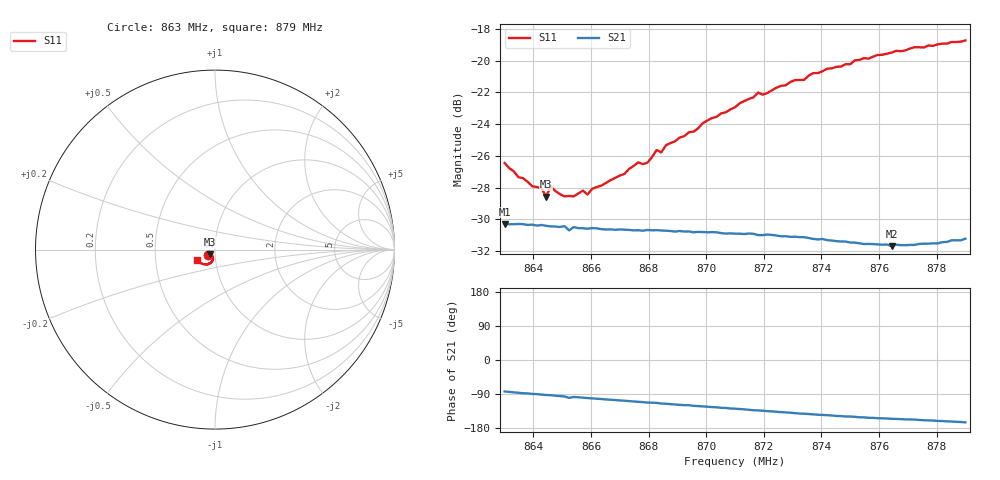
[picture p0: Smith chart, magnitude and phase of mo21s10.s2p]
# HZ S RI R 50
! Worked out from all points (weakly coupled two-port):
!   101 points, 863 MHz to 879 MHz, reference 50 ohm
!   highest |S21| = -30.29 dB at 863 MHz (marker M1); lowest = -31.7 dB at 876.44 MHz (marker M2)
!   lowest |S11| = -28.6 dB at 864.44 MHz (marker M3), VSWR 1.08, Z = 47.4 - j2.55 ohm
!   |S11| at or under -10 dB: start of sweep to end of sweep
!   S12 and S22 are empty: the file has one direction only
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8.63e8  -0.0384 -0.028  0.00371 -0.0303  0 0  0 0
8.6348e8  -0.0337 -0.0265  0.00189 -0.0305  0 0  0 0
8.6428e8  -0.0266 -0.0293  -0.000723 -0.0303  0 0  0 0
8.6444e8  -0.0258 -0.0269  -0.00123 -0.0301  0 0  0 0
8.646e8  -0.0261 -0.0305  -0.00155 -0.03  0 0  0 0
8.6508e8  -0.0209 -0.0309  -0.00329 -0.0299  0 0  0 0
8.6524e8  -0.0213 -0.0308  -0.00504 -0.0287  0 0  0 0
8.6572e8  -0.0177 -0.0347  -0.00488 -0.0292  0 0  0 0
8.6588e8  -0.0176 -0.0335  -0.00538 -0.029  0 0  0 0
8.6604e8  -0.0167 -0.0357  -0.00579 -0.0291  0 0  0 0
8.6716e8  -0.012 -0.0422  -0.00875 -0.028  0 0  0 0
8.6764e8  -0.0138 -0.0458  -0.0102 -0.0274  0 0  0 0
8.6796e8  -0.0107 -0.0464  -0.0111 -0.0271  0 0  0 0
8.6828e8  -0.0111 -0.0511  -0.0115 -0.0269  0 0  0 0
8.6844e8  -0.0118 -0.05  -0.0123 -0.0264  0 0  0 0
8.686e8  -0.0109 -0.053  -0.0125 -0.0263  0 0  0 0
8.71e8  -0.0195 -0.0685  -0.0177 -0.0223  0 0  0 0
8.718e8  -0.0269 -0.0746  -0.0193 -0.0206  0 0  0 0
8.7212e8  -0.0254 -0.0748  -0.02 -0.02  0 0  0 0
8.7372e8  -0.0401 -0.082  -0.022 -0.0163  0 0  0 0
8.7644e8  -0.0714 -0.0783  -0.0236 -0.0109  0 0  0 0
8.79e8  -0.0985 -0.0605  -0.0265 -0.00735  0 0  0 0
